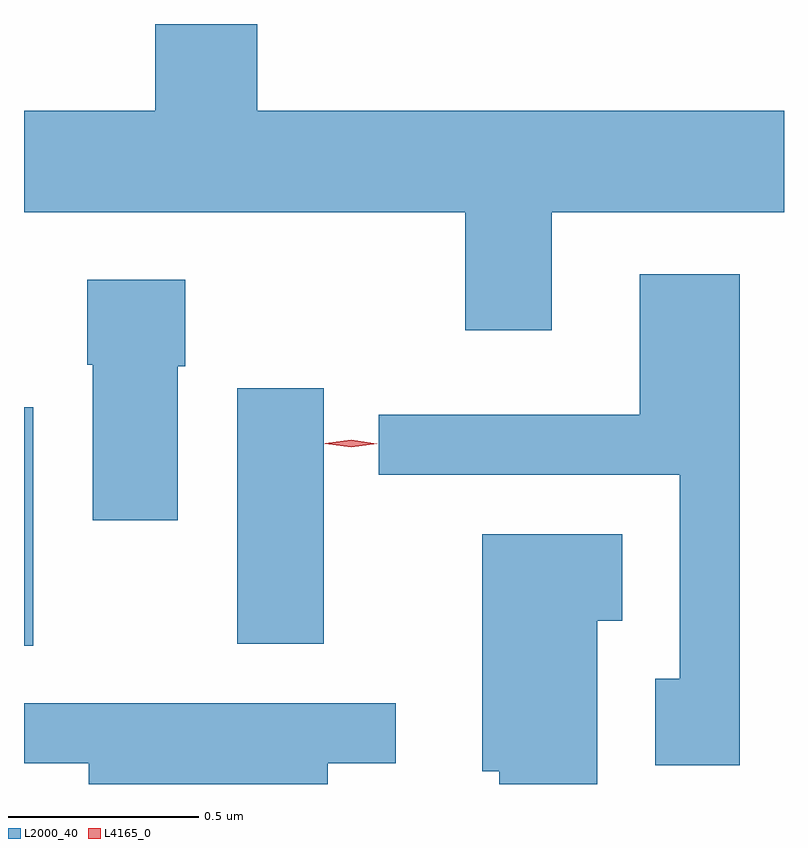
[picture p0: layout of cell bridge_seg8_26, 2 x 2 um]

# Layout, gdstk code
import gdstk
lib = gdstk.Library(unit=1e-6, precision=1e-09)
def R(c, l, rs):  # rectangles x0, y0, x1, y1
    for r in rs: c.add(gdstk.rectangle(r[:2], r[2:], *l))
def P(c, l, *ps):  # polygons
    for p in ps: c.add(gdstk.Polygon(p, *l))
L2000_40 = (2000, 40)
L4165_0 = (4165, 0)

bridge_seg8_26 = lib.new_cell('bridge_seg8_26')
R(bridge_seg8_26, L2000_40, [(1733.21,1932.956,1733.234,1933.584), (1733.771,1932.961,1733.999,1933.634)])
P(bridge_seg8_26, L2000_40, [(1734.599,1934.096),(1735.21,1934.096),(1735.21,1934.364),(1733.824,1934.364),(1733.824,1934.592),(1733.556,1934.592),(1733.556,1934.364),(1733.21,1934.364),(1733.21,1934.096),(1734.371,1934.096),(1734.371,1933.786),(1734.599,1933.786)],
  [(1735.094,1933.934),(1734.831,1933.934),(1734.831,1933.564),(1734.143,1933.564),(1734.143,1933.406),(1734.936,1933.406),(1734.936,1932.869),(1734.871,1932.869),(1734.871,1932.641),(1735.094,1932.641)],
  [(1733.614,1933.691),(1733.634,1933.691),(1733.634,1933.919),(1733.376,1933.919),(1733.376,1933.695),(1733.391,1933.695),(1733.391,1933.286),(1733.614,1933.286)],
  [(1734.719,1933.021),(1734.784,1933.021),(1734.784,1933.249),(1734.416,1933.249),(1734.416,1932.626),(1734.461,1932.626),(1734.461,1932.592),(1734.719,1932.592)],
  [(1734.009,1932.646),(1734.188,1932.646),(1734.188,1932.804),(1733.21,1932.804),(1733.21,1932.646),(1733.381,1932.646),(1733.381,1932.592),(1734.009,1932.592)])
P(bridge_seg8_26, L4165_0, [(1734.071,1933.478),(1734.003,1933.488),(1734.002,1933.488),(1734.003,1933.489),(1734.071,1933.498),(1734.14,1933.488),(1734.14,1933.488),(1734.14,1933.487)],
  [(1734.071,1933.478),(1734.005,1933.487),(1734.005,1933.488),(1734.005,1933.488),(1734.071,1933.498),(1734.137,1933.488),(1734.137,1933.488),(1734.137,1933.487)])

lib.write_gds('bridge_seg8_26.gds')
